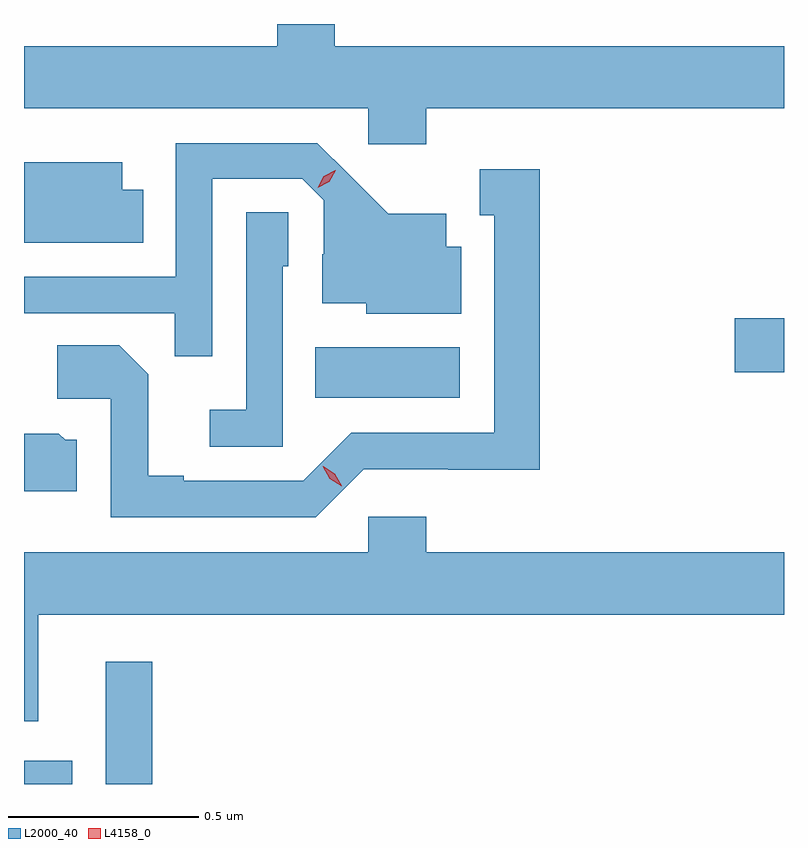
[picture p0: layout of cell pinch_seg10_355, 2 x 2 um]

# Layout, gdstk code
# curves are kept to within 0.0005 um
import gdstk
lib = gdstk.Library(unit=1e-6, precision=1e-09)
def R(c, l, rs):  # rectangles x0, y0, x1, y1
    for r in rs: c.add(gdstk.rectangle(r[:2], r[2:], *l))
def P(c, l, *ps):  # polygons
    for p in ps: c.add(gdstk.Polygon(p, *l))
L2000_40 = (2000, 40)
L4158_0 = (4158, 0)

pinch_seg10_355 = lib.new_cell('pinch_seg10_355')
R(pinch_seg10_355, L2000_40, [(516,1282.554,516.127,1282.615), (516.215,1282.554,516.337,1282.876), (516.766,1283.57,517.147,1283.704), (517.871,1283.638,518,1283.78)])
P(pinch_seg10_355, L2000_40, [(517.058,1284.332),(518,1284.332),(518,1284.496),(516.818,1284.496),(516.818,1284.554),(516.666,1284.554),(516.666,1284.496),(516,1284.496),(516,1284.332),(516.906,1284.332),(516.906,1284.237),(517.058,1284.237)],
  [(516.495,1284.147),(516.732,1284.147),(516.789,1284.09),(516.789,1283.948),(516.785,1283.948),(516.785,1283.819),(516.9,1283.819),(516.9,1283.792),(517.15,1283.792),(517.15,1283.968),(517.111,1283.968),(517.111,1284.055),(516.959,1284.055),(516.772,1284.24),(516.399,1284.24),(516.399,1283.889),(516,1283.889),(516,1283.793),(516.397,1283.793),(516.397,1283.68),(516.495,1283.68)],
  [(516.314,1284.118),(516.259,1284.118),(516.259,1284.19),(516,1284.19),(516,1283.978),(516.314,1283.978)],
  [(516.894,1283.382),(517.116,1283.382),(517.116,1283.381),(517.357,1283.381),(517.357,1284.172),(517.199,1284.172),(517.199,1284.051),(517.238,1284.051),(517.238,1283.478),(516.861,1283.478),(516.735,1283.352),(516.421,1283.352),(516.421,1283.365),(516.327,1283.365),(516.327,1283.632),(516.251,1283.708),(516.087,1283.708),(516.087,1283.568),(516.228,1283.568),(516.228,1283.256),(516.768,1283.256)],
  [(516.681,1283.916),(516.696,1283.916),(516.696,1284.059),(516.585,1284.059),(516.585,1283.539),(516.489,1283.539),(516.489,1283.442),(516.681,1283.442)],
  [(516.139,1283.46),(516.108,1283.46),(516.092,1283.476),(516,1283.476),(516,1283.324),(516.139,1283.324)],
  [(516.037,1283),(518,1283),(518,1283.164),(517.058,1283.164),(517.058,1283.257),(516.906,1283.257),(516.906,1283.164),(516,1283.164),(516,1282.719),(516.037,1282.719)])
P(pinch_seg10_355, L4158_0, [(516.836,1283.338),(516.804,1283.357),(516.786,1283.39),(516.786,1283.39),(516.787,1283.39),(516.818,1283.371),(516.836,1283.339),(516.836,1283.338)],
  [(516.773,1284.123),(516.773,1284.123),(516.789,1284.153),(516.819,1284.169),(516.82,1284.169),(516.82,1284.169),(516.803,1284.139),(516.773,1284.123)])

lib.write_gds('pinch_seg10_355.gds')
